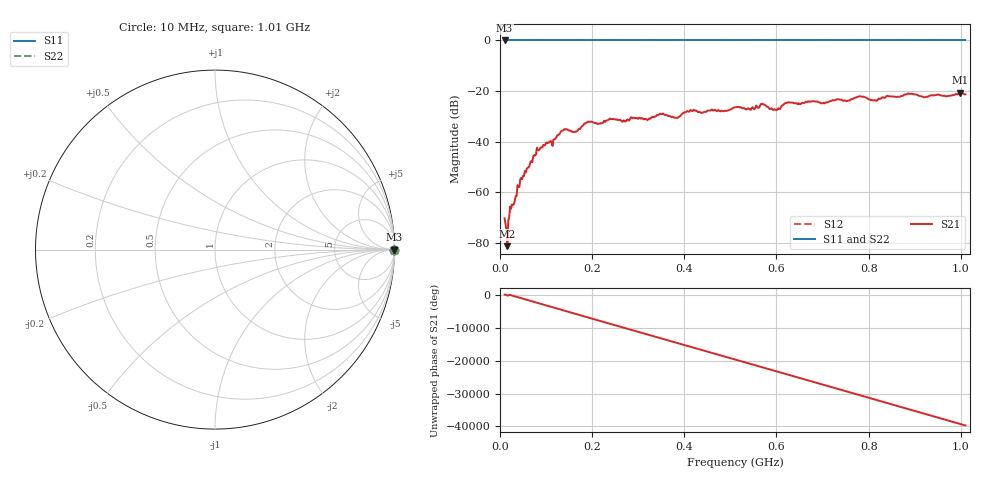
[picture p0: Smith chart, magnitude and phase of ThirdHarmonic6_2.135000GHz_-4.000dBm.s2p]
! 8/17/2025 1:30:23 AM
! C:\ANRITSUVNA\TEMP\TEMP.S2P
! CHANNEL.1
! TR.MEASUREMENT
! RAW.DATA
! RF.CORRECTION.OFF
! AVERAGING.OFF
! IF.BANDWIDTH: 5KHZ
! SWEEPTYPE:  FREQ.SWEEP(Linear)
! Reference Plane Port Info
! PORT:  PORT1  PORT2
! DISTANCE:  0  m  0  m
! TIME:  0  s  0  s
! PHASE.OFFSET:  0  deg.  0  deg.
! LOSS:  0  dB  0  dB
! REF.LOSS:  0  dB  0  dB
! REF.FREQ:  0  Hz  0  Hz
! Power Info
! POWER:  -20  dBm  -20  dBm
! EFF.POWER:  -20  dBm  -20  dBm
! SOURCE.ATTEN:  0  dB  0  dB
! TEST.ATTEN:  0  dB  0  dB
# GHZ S RI R 50.0
! FREQ.GHZ  S11RE  S11IM  S21RE  S21IM  S12RE  S12IM  S22RE  S22IM
!; PortSelection: Port_12
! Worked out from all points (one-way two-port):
!   501 points, 10 MHz to 1.01 GHz, reference 50 ohm
!   highest |S21| = -20.67 dB at 998 MHz (marker M1); lowest = -81.3 dB at 16 MHz (marker M2)
!   lowest |S11| = 0.0 dB at 10 MHz (marker M3)
!   |S11| at or under -10 dB: nowhere
!   |S22| runs from 0.0 to 0.0 dB; largest |S21 - S12| = 1.1
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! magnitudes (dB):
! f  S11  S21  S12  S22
! 10 MHz  0.0  -70.3  0.0  0.0
! 16 MHz  0.0  -81.3  0.0  0.0
! 22 MHz  0.0  -65.6  0.0  0.0
! 42 MHz  0.0  -57.9  0.0  0.0
! 78 MHz  0.0  -45.1  0.0  0.0
! 136 MHz  0.0  -35.6  0.0  0.0
! 162 MHz  0.0  -36.2  0.0  0.0
! 178 MHz  0.0  -33.9  0.0  0.0
! 194 MHz  0.0  -32.2  0.0  0.0
! 322 MHz  0.0  -31.1  0.0  0.0
! 344 MHz  0.0  -29.4  0.0  0.0
! 382 MHz  0.0  -30.5  0.0  0.0
! 416 MHz  0.0  -27.9  0.0  0.0
! 510 MHz  0.0  -26.4  0.0  0.0
! 570 MHz  0.0  -25.2  0.0  0.0
! 596 MHz  0.0  -27.2  0.0  0.0
! 622 MHz  0.0  -24.7  0.0  0.0
! 678 MHz  0.0  -24.0  0.0  0.0
! 814 MHz  0.0  -23.6  0.0  0.0
! 844 MHz  0.0  -22.1  0.0  0.0
! 998 MHz  0.0  -20.7  0.0  0.0
! 1.01 GHz  0.0  -21.3  0.0  0.0
